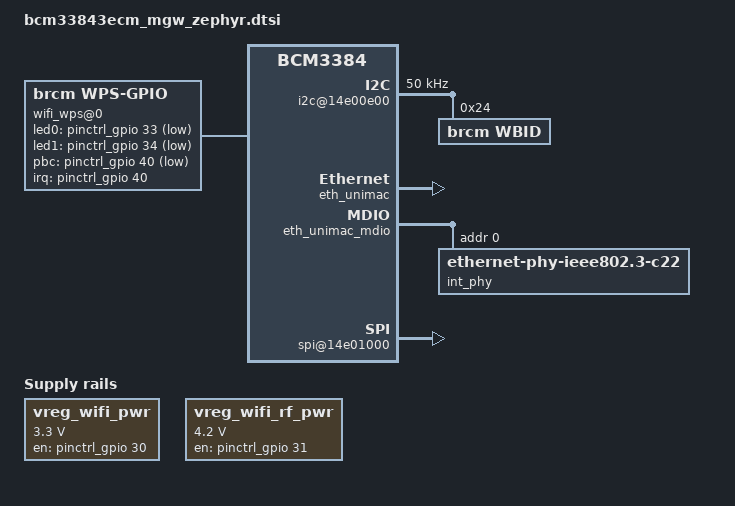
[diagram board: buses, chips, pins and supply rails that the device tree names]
/include/ "bcm3384_mgw.dtsi"

/ {
	pinctrl_gpio: pinctrl_gpio@14e00100 {
		compatible = "brcm,bcm3384-pinctrl-gpio";
		reg = <0x14e00100 0x2c>,	/* GPIO direction regs		*/
		      <0x14e0012c 0x2c>,	/* GPIO data regs		*/
		      <0x14e0029c 0x14>,	/* GPIO mux regs		*/
		      <0x14e00080 0x4>,		/* GPIO mux readback reg	*/
		      <0x104b00f8 0x4>,		/* MBOX cfg reg (HW spinlock)	*/
		      <0x14e0006c 0x4>,		/* GPIO IRQ ctrl reg		*/
		      <0x14e00098 0x4>,		/* GPIO IRQ mux lo reg		*/
		      <0x14e003f4 0x4>,		/* GPIO IRQ mux hi reg		*/
		      <0x104b0064 0x4>;		/* G2U ZMIPS IRQ status reg	*/
		#gpio-cells = <0x2>;
		gpio-controller;
		brcm,num-gpio-pins = <147>;
		brcm,num-pinmux-funcs = <8>;
		#interrupt-cells = <2>;
		interrupt-parent = <&zmips_intc>;
		interrupts = <14>;
		interrupt-controller;
		brcm,parent-irq-status-bit = <14>;
		brcm,gpio_irq_slot_assignments = <3 4 5>;

		pinctrl-names = "default";
		pinctrl-0 = <&wifi_pwr_ctrl
			     &wifi_wps
			     &stb_rgmii
			     &mtsif_ats
			     &mtsif_tx0
			     &i2c_wbid>;
		wifi_pwr_ctrl: wifi_pwr_ctrl {
			brcm,pins = <4 5>;
			brcm,function = <5>; /* GPIO */
		};
		wifi_wps: wifi_wps {
			brcm,pins = <6 7 40>;
			brcm,function = <5>; /* GPIO */
		};
		stb_rgmii: stb_rgmii {
			brcm,pins = <42 43 44 45 46 47 48 49 50 51 52 53>;
			brcm,function = <1>; /* RGMII0 */
		};
		stb_rgmii_irq: stb_rgmii_irq {
			brcm,pins = <34>;
			brcm,function = <5>; /* GPIO */
		};
		mtsif_ats: mtsif_ats {
			brcm,pins = <38 39>;
			brcm,function = <1>; /* MTSIF_ATS */
		};
		mtsif_tx0: mtsif_tx0 {
			brcm,pins = <54 55 56 57 58 59 62 63 64 65>;
			brcm,function = <4>; /* MTSIF_TX0 */
		};
		i2c_wbid: i2c_wbid {
			brcm,pins = <36 37>;
			brcm,function = <1>; /* RFT1_DATA/CLK */
		};
	};

	vreg_wifi_pwr: vreg-wifi-pwr {
		compatible = "regulator-fixed";
		regulator-name = "vreg-wifi-pwr";
		regulator-min-microvolt = <3300000>;
		regulator-max-microvolt = <3300000>;
		gpio = <&pinctrl_gpio 30 0>;
		enable-active-high;
		regulator-boot-on;
	};

	vreg_wifi_rf_pwr: vreg-wifi-rf-pwr {
		compatible = "regulator-fixed";
		regulator-name = "vreg-wifi-rf-pwr";
		regulator-min-microvolt = <4200000>;
		regulator-max-microvolt = <4200000>;
		gpio = <&pinctrl_gpio 31 0>;
		enable-active-high;
		regulator-boot-on;
	};

	wifi_wps@0 {
		compatible = "brcm,wps-gpio";
		dev-name = "wps-gpio";
		led0-gpio = <&pinctrl_gpio 33 1>;
		led1-gpio = <&pinctrl_gpio 34 1>;
		pbc-gpio = <&pinctrl_gpio 40 1>;
		interrupt-parent = <&pinctrl_gpio>;
		interrupts = <40 3>;
	};

	dqm@13c00000 {
		compatible = "brcm,dqm";
		reg = <0x13c00000 0x8000>;
		interrupt-parent = <&iop_intc>;
		interrupts = <10>;

		dev-name = "gfap";

		l1-irq-mask-offset	= <0x1058>;
		l1-irq-status-offset	= <0x100c>;
		l1-irq-dqm-mask		= <0x04000000 0x08000000>;

		cfg-offset		= <0x1800 0x2200>;
		lwm-irq-mask-offset	= <0x182c 0x222c>;
		lwm-irq-status-offset	= <0x180c 0x220c>;
		ne-irq-mask-offset	= <0x1830 0x2230>;
		ne-irq-status-offset	= <0x1818 0x2218>;
		ne-status-offset	= <0x1820 0x2220>;
		fpm-alloc-offset	= <0x0000 0x0000>;

		q-ctl-base-offset	= <0x1a00 0x2400>;
		q-data-base-offset	= <0x1c00 0x2600>;
		q-status-base-offset	= <0x1f00 0x2900>;
		q-mib-base-offset       = <0x2000 0x2a00>;

		q-count			= <64>;
		cfg-qsm			= <0>;
		qsm-size		= <0x3000>;
	};

	dqm@104b0000 {
		compatible = "brcm,dqm";
		reg = <0x104b0000 0x8000>;
		interrupt-parent = <&zmips_intc>;
		interrupts = <22>;

		dev-name = "g2u";

		l1-irq-mask-offset	= <0x0060>;
		l1-irq-status-offset	= <0x0064>;
		l1-irq-dqm-mask		= <0x00400000>;

		cfg-offset		= <0x0380>;
		lwm-irq-mask-offset	= <0x0394>;
		lwm-irq-status-offset	= <0x03a0>;
		ne-irq-mask-offset	= <0x03d4>;
		ne-irq-status-offset	= <0x03e0>;
		ne-status-offset	= <0x03e8>;
		fpm-alloc-offset	= <0x0000>;

		q-ctl-base-offset	= <0x0400>;
		q-data-base-offset	= <0x0800>;
		q-status-base-offset	= <0x0b00>;
		q-mib-base-offset       = <0x0c00>;

		q-count			= <32>;
		cfg-qsm			= <1>;
		qsm-size		= <0x1000>;
		#qsm-alloc-cells	= <4>;
					  /* Q #, # words/element, # elements (depth), offload(1)/non-offload(0) */
		qsm-allocation		= < 2   4  16    0		/* RPC RG-->CM				*/
					    3   4  16    0		/* RPC RG<--CM				*/
					    6   4  16    0		/* RPC STB-->CM				*/
					    7   4  16    0		/* RPC STB<--CM				*/
					    14  2  32    0		/* Private Network RG (bridge)-->CM	*/
					    15  2  32    0		/* Private Network RG (bridge)<--CM	*/
					    20  4  16    0		/* RPC SVM-->CM				*/
					    21  4  16    0 >;		/* RPC SVM<--CM				*/
	};

	rpcrgcm: rpcrgcm {
		compatible = "brcm,itc-rpc";
		dev-name = "rg-cm";
		dqm = "g2u";
		tx-q = <2>;
		rx-q = <3>;
	};

	rpcsvmcm: rpcsvmcm {
		compatible = "brcm,itc-rpc";
		dev-name = "svm-cm";
		dqm = "g2u";
		tx-q = <20>;
		rx-q = <21>;
	};

	rpcstbcm: rpcstbcm {
		compatible = "brcm,itc-rpc";
		dev-name = "stb-cm";
		dqm = "g2u";
		tx-q = <6>;
		rx-q = <7>;
	};

	qchan0: q-channel0 {
		dev-name = "fap-exception";

		#tx-q-cells = <3>;
		/*	DQM device,	Q#,	Priority				*/
		tx-q =	"gfap",		"10",	"0",	/* RG-->GFAP, hi priority	*/
			"gfap",		"11",	"1";	/* RG-->GFAP, lo priority	*/
		#rx-q-cells = <3>;
		/*	DQM device,	Q#,	Priority				*/
		rx-q =	"gfap",		"25",	"0",	/* GFAP-->RG, hi priority	*/
			"gfap",		"24",	"1",	/* GFAP-->RG, lo priority	*/
			"gfap",		"23",	"2";	/* GFAP-->RG, ctrl pkt		*/

		type = "fap-exception";
		q-msg-fmt = "gfap-fpm";
	};

	qchan1: q-channel1 {
		dev-name = "cm-private";

		#tx-q-cells = <3>;
		/*	DQM device,	Q#,	Priority	*/
		tx-q =	"g2u",	"14",	"0";	/* RG-->CM	*/
		#rx-q-cells = <3>;
		/*	DQM device,	Q#,	Priority	*/
		rx-q =	"g2u",	"15",	"0";	/* CM-->RG	*/

		type = "point-to-point";
		q-msg-fmt = "gfap-fpm";
	};

	priv0 { /* RG <--> CM private */
		compatible = "brcm,dqnet";
		channel = <&qchan1>;
		dev-name = "priv0";
		if-id = <0>;
		if-sub-id = <0>;
		demux = "none";
		link-type = "rpc";
		rpc-channel = <&rpcrgcm>;
	};

	i2c@14e00e00 {
		clock-frequency = <50000>;
		compatible = "brcm,brcmper-i2c";
		reg = <0x14e00e00 0x58>,
		      <0x104b00f4 0x4>;
		port-select = <1>;
		#address-cells = <1>;
		#size-cells = <0>;

		wbid@24 {
			compatible = "brcm,wbid";
			reg = <0x24>;
		};
	};

	gfap@13c00000 {
		compatible = "brcm,gfap";
		reg = <0x13c00000 0x1000000>;
		id_string = "gfap";
		gfap_use_scb = <0x0>;
		switch_data_mac = <0x0>;
	};

	stb_unimac: unimac@12c00000 {
		compatible = "brcm,unimac";
		reg = <0x12c00000 0x20000>,
		     <0x12c0002c 0x4>;
		mbdma_reg_offset = <0x0>;
		unimac_reg_offset = <0x600>;
		id_string = "unimac0";
		mbdma_use_scb = <0x0>;
		mbdma_burst_size = <64>;
		external_phy = <1>;
		mbdma_channel0_rx_macid = <0>;
		mbdma_channel0_tx_macid = <0>;
		mbdma_channel1_rx_macid = <1>;
		mbdma_channel1_tx_macid = <1>;
		rgmii_id_mode_disable = <0>;
		tx_clk_dly = <0x8>;
		rx_clk_dly = <0x8>;
	};

	eth_unimac: unimac@12c02000 {
		compatible = "brcm,unimac";
		reg = <0x12c02000 0x20000>,
		     <0x12c0202c 0x4>;
		unimac_reg_offset = <0x600>;
		id_string = "unimac1";
		skip_mbdma_init = <1>;
		external_phy = <0>;
		rgmii_id_mode_disable = <0>;
		tx_clk_dly = <0x8>;
		rx_clk_dly = <0x8>;
	};

	eth_unimac_mdio: mdio@12c02600 {
		compatible = "brcm,unimac-mdio";
		dev-name = "UniMAC MII bus";
		reg = <0x12c0262c 0x4>,
		      <0x12c02600 0x4>;
		reg-names = "mdio";
		#size-cells = <0>;
		#address-cells = <1>;

		int_phy: phy@0 {
			compatible = "ethernet-phy-ieee802.3-c22";
			reg = <0>;
			phy-mode = "rgmii";
		};
	};

	eth0: eth0 {
		compatible = "brcm,dqnet";
		channel = <&qchan0>;
		dev-name = "eth0";
		if-id = <1>;
		if-sub-id = <0>;
		demux = "subid";
		link-type = "phy";
		mac-handle = <&eth_unimac>;
		phy-handle = <&int_phy>;
		phy-mode = "rgmii";
	};

	stb0: stb0 {
		compatible = "brcm,dqnet";
		channel = <&qchan0>;
		dev-name = "stb0";
		if-id = <0>;
		if-sub-id = <0>;
		demux = "subid";
		link-type = "phy";
		mac-handle = <&stb_unimac>;
		phy-mode = "rgmii";
		fixed-link {
			full-duplex;
			speed = <1000>;
		};
	};

	cm0 {
		compatible = "brcm,dqnet";
		channel = <&qchan0>;
		dev-name = "cm0";
		if-id = <15>;
		if-sub-id = <0>;
		demux = "subid";
		link-type = "rpc";
		rpc-channel = <&rpcrgcm>;
	};

	spi@14e01000 {
		compatible = "brcm,bcm6328-hsspi";
		reg = <0x14e01000 0x800>,
		      <0x104b00fc 0x4>;
		interrupts = <5>;
		interrupt-parent = <&periph_intc>;
		clocks = <&hsspi_clock>;
		clock-names = "hsspi";
		#address-cells = <1>;
		#size-cells = <0>;
	};

	pmb@0x13e800c0 {
		compatible = "brcm,pmb";
		reg = <0x13e800c0 0x10>;
		#address-cells = <0>;
		#size-cells = <1>;
		version = <2>;

		bpcm@1 {
			compatible = "brcm,bpcm";
			reg = <1>;
			dev-name = "bpcm-fpm";
			zones = <1>;
		};

		bpcm@2 {
			compatible = "brcm,bpcm";
			reg = <2>;
			dev-name = "bpcm-chip-clkrst";
			zones = <0>;
		};

		bpcm@30 {
			compatible = "brcm,bpcm";
			reg = <30>;
			dev-name = "bpcm-mbdma";
			zones = <3>;
		};

		bpcm@40 {
			compatible = "brcm,bpcm";
			reg = <40>;
			dev-name = "bpcm-egphy";
			zones = <1>;
		};
	};
};

&pcie0 {
	supply-names = "vreg-wifi-pwr", "vreg-wifi-rf-pwr";
	vreg-wifi-pwr-supply = <&vreg_wifi_pwr>;
	vreg-wifi-rf-pwr-supply = <&vreg_wifi_rf_pwr>;
};

&pcie1 {
	supply-names = "vreg-wifi-pwr", "vreg-wifi-rf-pwr";
	vreg-wifi-pwr-supply = <&vreg_wifi_pwr>;
	vreg-wifi-rf-pwr-supply = <&vreg_wifi_rf_pwr>;
};
